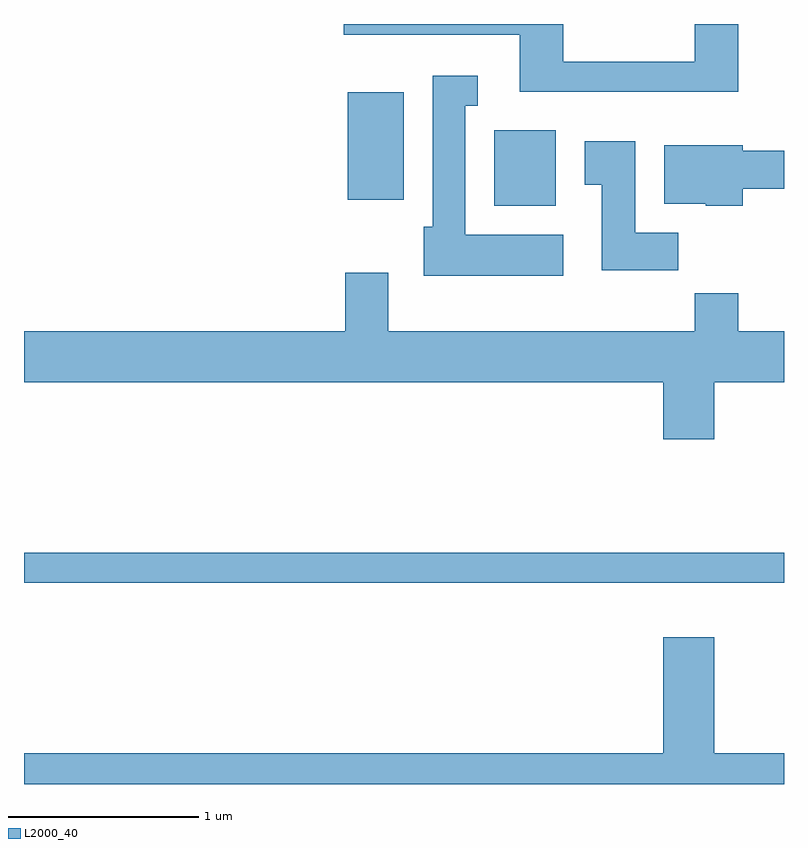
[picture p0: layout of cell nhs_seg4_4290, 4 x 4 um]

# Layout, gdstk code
import gdstk
lib = gdstk.Library(unit=1e-6, precision=1e-09)
def R(c, l, rs):  # rectangles x0, y0, x1, y1
    for r in rs: c.add(gdstk.rectangle(r[:2], r[2:], *l))
def P(c, l, *ps):  # polygons
    for p in ps: c.add(gdstk.Polygon(p, *l))
L2000_40 = (2000, 40)

nhs_seg4_4290 = lib.new_cell('nhs_seg4_4290')
R(nhs_seg4_4290, L2000_40, [(311.611,1267.041,315.611,1267.199), (314.086,1269.026,314.409,1269.424), (313.316,1269.056,313.609,1269.624)])
P(nhs_seg4_4290, L2000_40, [(315.369,1269.982),(315.141,1269.982),(315.141,1269.784),(314.449,1269.784),(314.449,1269.982),(313.293,1269.982),(313.293,1269.926),(314.221,1269.926),(314.221,1269.626),(315.369,1269.626)],
  [(314.449,1268.874),(313.934,1268.874),(313.934,1269.551),(313.998,1269.551),(313.998,1269.709),(313.761,1269.709),(313.761,1268.914),(313.716,1268.914),(313.716,1268.656),(314.449,1268.656)],
  [(315.054,1268.884),(314.829,1268.884),(314.829,1269.364),(314.561,1269.364),(314.561,1269.136),(314.651,1269.136),(314.651,1268.686),(315.054,1268.686)],
  [(315.394,1269.116),(315.611,1269.116),(315.611,1269.314),(315.394,1269.314),(315.394,1269.344),(314.981,1269.344),(314.981,1269.036),(315.2,1269.036),(315.2,1269.026),(315.394,1269.026)],
  [(315.244,1268.096),(315.611,1268.096),(315.611,1268.364),(315.369,1268.364),(315.369,1268.564),(315.141,1268.564),(315.141,1268.364),(313.529,1268.364),(313.529,1268.674),(313.301,1268.674),(313.301,1268.364),(311.611,1268.364),(311.611,1268.096),(314.976,1268.096),(314.976,1267.796),(315.244,1267.796)],
  [(315.611,1266.144),(315.244,1266.144),(315.244,1266.754),(314.976,1266.754),(314.976,1266.144),(311.611,1266.144),(311.611,1265.982),(315.611,1265.982)])

lib.write_gds('nhs_seg4_4290.gds')
